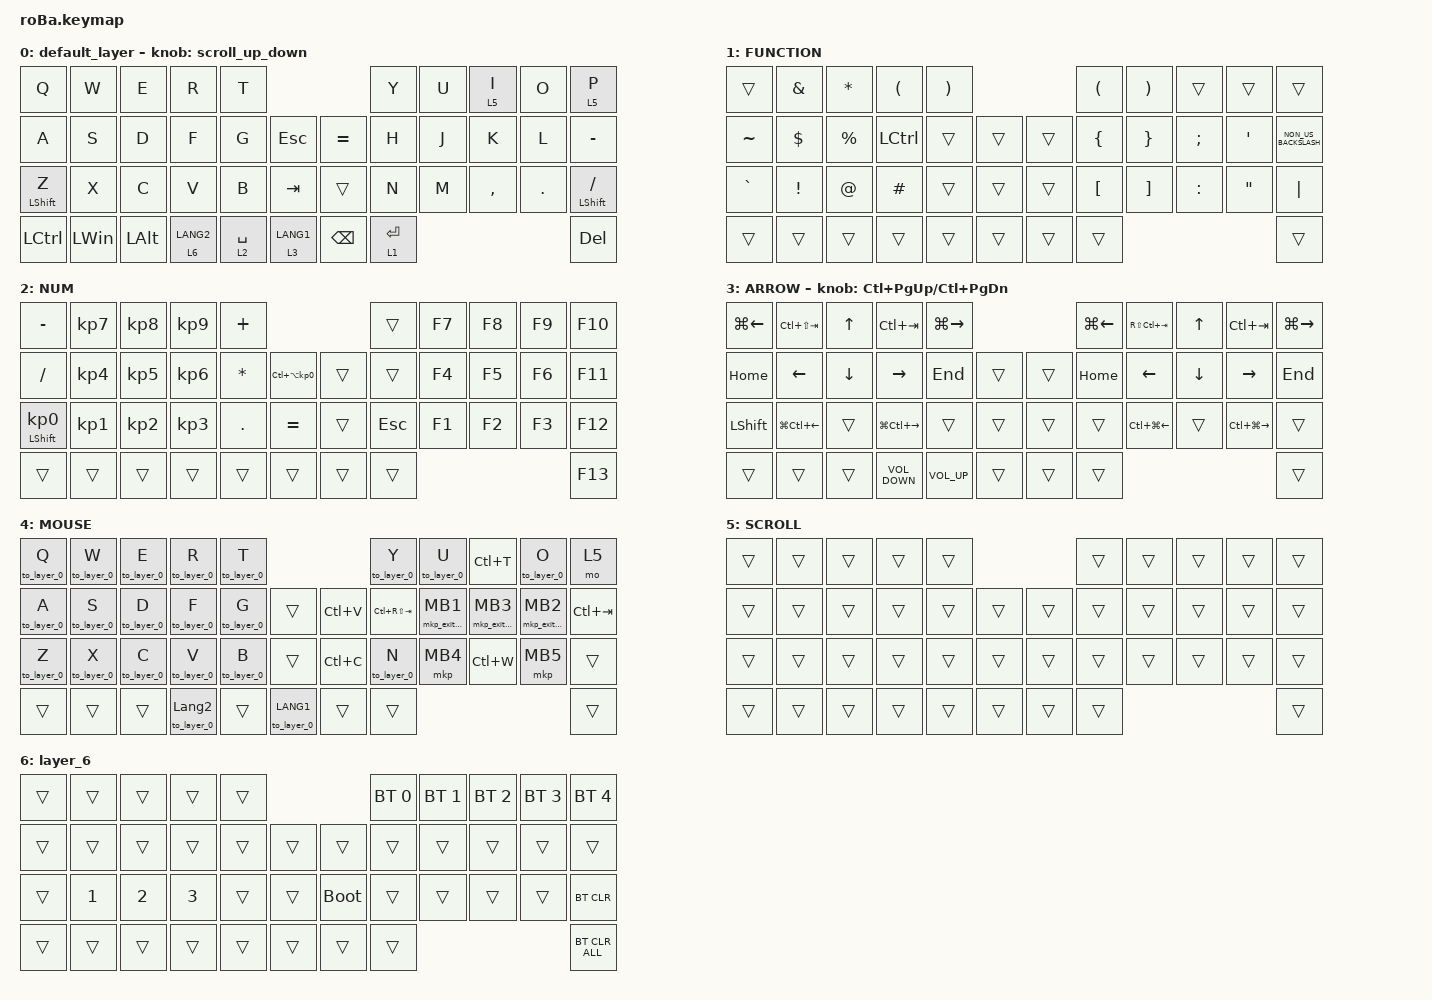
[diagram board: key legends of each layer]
#include <behaviors.dtsi>
#include <dt-bindings/zmk/bt.h>
#include <dt-bindings/zmk/keys.h>
#include <dt-bindings/zmk/pointing.h>

#define ZMK_POINTING_DEFAULT_SCRL_VAL 100

&mt {
    flavor = "balanced";
    quick-tap-ms = <0>;
};

&trackball {
    automouse-layer = <4>;
    scroll-layers = <5>;

    // arrows {
    //     layers = <3>;
    //     bindings =
    //         <&kp RIGHT_ARROW>,
    //         <&kp LEFT_ARROW>,
    //         <&kp UP_ARROW>,
    //         <&kp DOWN_ARROW>;
    //     tick = <10>;
    //     wait-ms = <5>;
    //     tap-ms = <5>;
    // };
};

/ {
    combos {
        compatible = "zmk,combos";

        BT0 {
            bindings = <&bt BT_SEL 0>;
            key-positions = <22 28>;
        };

        BT1 {
            bindings = <&bt BT_SEL 1>;
            key-positions = <23 28>;
        };

        BT2 {
            bindings = <&bt BT_SEL 2>;
            key-positions = <24 28>;
        };
    };

    macros {
        to_layer_0: to_layer_0 {
            compatible = "zmk,behavior-macro-one-param";
            #binding-cells = <1>;
            bindings = <&to 0 &macro_param_1to1 &kp MACRO_PLACEHOLDER>;
            label = "TO_LAYER_0";
        };

        mkp_exit_AML: mkp_exit_AML {
            compatible = "zmk,behavior-macro-one-param";
            #binding-cells = <1>;
            bindings =
                <&macro_press>,
                <&macro_param_1to1 &mkp MACRO_PLACEHOLDER>,
                <&macro_pause_for_release>,
                <&macro_release>,
                <&macro_param_1to1 &mkp MACRO_PLACEHOLDER>,
                <&macro_tap>,
                <&sl 4>;

            label = "MKP_EXIT_AML";
        };
    };

    behaviors {
        lt_to_layer_0: lt_to_layer_0 {
            compatible = "zmk,behavior-hold-tap";
            label = "LAYER_TAP_TO_0";
            bindings = <&mo>, <&to_layer_0>;

            #binding-cells = <2>;
            tapping-term-ms = <200>;
        };

        scroll_up_down: behavior_sensor_rotate_mouse_wheel_up_down {
            compatible = "zmk,behavior-sensor-rotate";
            #sensor-binding-cells = <0>;
            bindings = <&msc SCRL_DOWN>, <&msc SCRL_UP>;

            // 追加: スクロールのタップ時間を設定 (20ms)

            tap-ms = <20>;
        };
    };

    keymap {
        compatible = "zmk,keymap";

        default_layer {
            bindings = <
&kp Q             &kp W         &kp E         &kp R        &kp T                                        &kp Y        &kp U  &lt 5 I    &kp O    &lt 5 P
&kp A             &kp S         &kp D         &kp F        &kp G        &kp ESC          &kp EQUAL      &kp H        &kp J  &kp K      &kp L    &kp MINUS
&mt LEFT_SHIFT Z  &kp X         &kp C         &kp V        &kp B        &kp TAB          &trans         &kp N        &kp M  &kp COMMA  &kp DOT  &mt LSHFT SLASH
&kp LCTRL         &kp LEFT_WIN  &kp LEFT_ALT  &lt 6 LANG2  &lt 2 SPACE  &lt 3 LANG1      &kp BACKSPACE  &lt 1 ENTER                             &kp DEL
            >;

            sensor-bindings = <&scroll_up_down>;
        };

        FUNCTION {
            bindings = <
&trans     &kp AMPERSAND    &kp ASTERISK  &kp LEFT_PARENTHESIS  &kp RIGHT_PARENTHESIS                      &kp LEFT_PARENTHESIS  &kp RIGHT_PARENTHESIS  &trans         &trans             &trans
&kp TILDE  &kp DOLLAR       &kp PERCENT   &kp LCTRL             &trans                 &trans      &trans  &kp LEFT_BRACE        &kp RIGHT_BRACE        &kp SEMICOLON  &kp SQT            &kp NON_US_BACKSLASH
&kp GRAVE  &kp EXCLAMATION  &kp AT_SIGN   &kp HASH              &trans                 &trans      &trans  &kp LEFT_BRACKET      &kp RIGHT_BRACKET      &kp COLON      &kp DOUBLE_QUOTES  &kp PIPE
&trans     &trans           &trans        &trans                &trans                 &trans      &trans  &trans                                                                         &trans
            >;
        };

        NUM {
            bindings = <
&kp MINUS                   &kp KP_NUMBER_7  &kp KP_NUMBER_8  &kp KP_NUMBER_9  &kp PLUS                                           &trans      &kp F7  &kp F8  &kp F9  &kp F10
&kp SLASH                   &kp KP_NUMBER_4  &kp KP_NUMBER_5  &kp KP_NUMBER_6  &kp ASTERISK  &kp LC(LA(KP_NUMBER_0))      &trans  &trans      &kp F4  &kp F5  &kp F6  &kp F11
&mt LEFT_SHIFT KP_NUMBER_0  &kp KP_NUMBER_1  &kp KP_NUMBER_2  &kp KP_NUMBER_3  &kp PERIOD    &kp EQUAL                    &trans  &kp ESCAPE  &kp F1  &kp F2  &kp F3  &kp F12
&trans                      &trans           &trans           &trans           &trans        &trans                       &trans  &trans                              &kp F13
            >;
        };

        ARROW {
            bindings = <
&kp LG(LEFT)    &kp LC(LS(TAB))         &kp UP_ARROW    &kp LC(TAB)              &kp LG(RIGHT)                        &kp LG(LEFT_ARROW)  &kp RS(LC(TAB))         &kp UP_ARROW    &kp LC(TAB)        &kp LG(RIGHT)
&kp HOME        &kp LEFT_ARROW          &kp DOWN_ARROW  &kp RIGHT_ARROW          &kp END          &trans      &trans  &kp HOME            &kp LEFT_ARROW          &kp DOWN_ARROW  &kp RIGHT          &kp END
&kp LEFT_SHIFT  &kp LG(LC(LEFT_ARROW))  &trans          &kp LG(LC(RIGHT_ARROW))  &trans           &trans      &trans  &trans              &kp LC(LG(LEFT_ARROW))  &trans          &kp LC(LG(RIGHT))  &trans
&trans          &trans                  &trans          &kp C_VOLUME_DOWN        &kp C_VOLUME_UP  &trans      &trans  &trans                                                                         &trans
            >;

            sensor-bindings = <&inc_dec_kp LC(PAGE_UP) LC(PAGE_DOWN)>;
        };

        MOUSE {
            bindings = <
&to_layer_0 Q  &to_layer_0 W  &to_layer_0 E  &to_layer_0 R           &to_layer_0 T                                    &to_layer_0 Y    &to_layer_0 U      &kp LC(T)          &to_layer_0 O      &mo 5
&to_layer_0 A  &to_layer_0 S  &to_layer_0 D  &to_layer_0 F           &to_layer_0 G  &trans                 &kp LC(V)  &kp LC(RS(TAB))  &mkp_exit_AML MB1  &mkp_exit_AML MB3  &mkp_exit_AML MB2  &kp LC(TAB)
&to_layer_0 Z  &to_layer_0 X  &to_layer_0 C  &to_layer_0 V           &to_layer_0 B  &trans                 &kp LC(C)  &to_layer_0 N    &mkp MB4           &kp LC(W)          &mkp MB5           &trans
&trans         &trans         &trans         &to_layer_0 LANGUAGE_2  &trans         &to_layer_0 LANG1      &trans     &trans                                                                    &trans
            >;
        };

        SCROLL {
            bindings = <
&trans  &trans  &trans  &trans  &trans                      &trans  &trans  &trans  &trans  &trans
&trans  &trans  &trans  &trans  &trans  &trans      &trans  &trans  &trans  &trans  &trans  &trans
&trans  &trans  &trans  &trans  &trans  &trans      &trans  &trans  &trans  &trans  &trans  &trans
&trans  &trans  &trans  &trans  &trans  &trans      &trans  &trans                          &trans
            >;
        };

        layer_6 {
            bindings = <
&trans  &trans        &trans        &trans        &trans                           &bt BT_SEL 0  &bt BT_SEL 1  &bt BT_SEL 2  &bt BT_SEL 3  &bt BT_SEL 4
&trans  &trans        &trans        &trans        &trans  &trans      &trans       &trans        &trans        &trans        &trans        &trans
&trans  &kp NUMBER_1  &kp NUMBER_2  &kp NUMBER_3  &trans  &trans      &bootloader  &trans        &trans        &trans        &trans        &bt BT_CLR
&trans  &trans        &trans        &trans        &trans  &trans      &trans       &trans                                                  &bt BT_CLR_ALL
            >;
        };
    };
};
